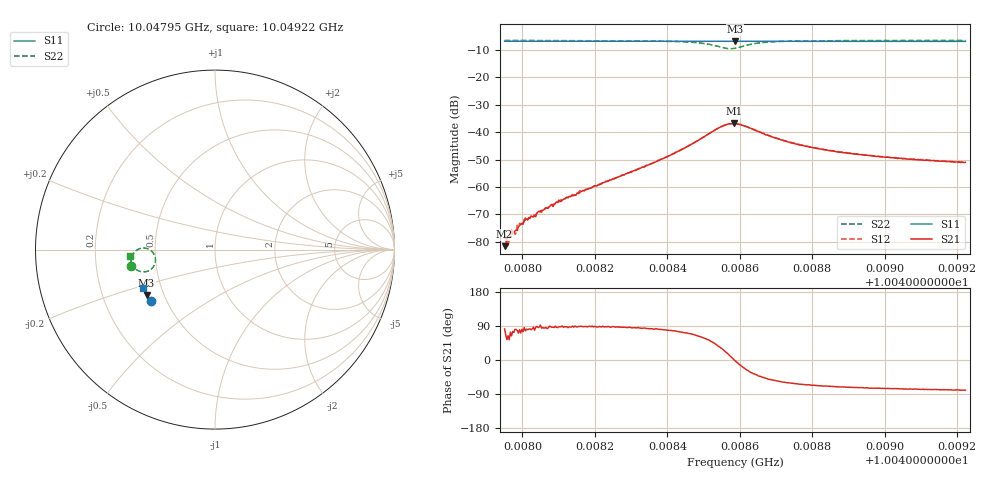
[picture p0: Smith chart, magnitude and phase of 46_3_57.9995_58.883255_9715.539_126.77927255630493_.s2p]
#  HZ  S  RI  R  50.00
! Rohde & Schwarz Vector Network Analyzer
! Rohde-Schwarz,ZNB20-2Port,1311601062101988,3.16
! Created: UTC 3/21/2024, 12:52:18 AM
! freq[Hz]  re:S11  im:S11  re:S21  im:S21  re:S12  im:S12  re:S22  im:S22
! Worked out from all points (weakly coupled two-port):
!   401 points, 10.04795 GHz to 10.04922 GHz, reference 50 ohm
!   highest |S21| = -36.75 dB at 10.04858 GHz (marker M1); lowest = -81.6 dB at 10.04795 GHz (marker M2)
!   lowest |S11| = -6.8 dB at 10.04859 GHz (marker M3), VSWR 2.68, Z = 20.1 - j12.8 ohm
!   |S11| at or under -10 dB: nowhere
!   |S22| runs from -9.5 to -6.5 dB; largest |S21 - S12| = 0.0011
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1.0047951e10  -0.3587 -0.2873  1.15e-05 8.22e-05  5.93e-05 0.000126  -0.4658 -0.09
1.0047957e10  -0.3589 -0.2869  7.04e-05 9.58e-05  3.96e-05 0.000102  -0.4659 -0.0895
1.004796e10  -0.3589 -0.2869  5.29e-05 0.000109  3.17e-05 7.88e-05  -0.4659 -0.0893
1.0047973e10  -0.3596 -0.2862  3.64e-05 0.000139  2.52e-05 0.000138  -0.466 -0.0882
1.0047976e10  -0.3597 -0.2859  4.43e-05 0.000144  6.99e-05 0.000147  -0.4662 -0.0879
1.0047992e10  -0.3604 -0.2851  3.51e-05 0.000195  2.53e-05 0.000216  -0.4662 -0.0864
1.0048011e10  -0.3611 -0.2841  3.97e-05 0.00026  1.22e-05 0.00025  -0.4665 -0.0846
1.0048033e10  -0.362 -0.2829  5.85e-05 0.000294  2.27e-05 0.00031  -0.4666 -0.0826
1.0048097e10  -0.3644 -0.2794  4.11e-05 0.000517  1.29e-05 0.000522  -0.467 -0.0762
1.0048164e10  -0.3671 -0.2758  1.71e-05 0.00083  -1.48e-05 0.000862  -0.4673 -0.0691
1.0048377e10  -0.375 -0.2637  0.000467 0.00301  0.000314 0.00307  -0.4611 -0.0346
1.004845e10  -0.3777 -0.2596  0.00167 0.00497  0.00136 0.00511  -0.4471 -0.0126
1.0048526e10  -0.3798 -0.255  0.00728 0.00755  0.00678 0.00793  -0.3895 0.0083
1.0048561e10  -0.3805 -0.2532  0.0127 0.00487  0.0123 0.00571  -0.3412 -0.0231
1.0048584e10  -0.3811 -0.2523  0.0145 0.000321  0.0143 0.00122  -0.3323 -0.0678
1.0048587e10  -0.381 -0.2522  0.0144 -0.000472  0.0143 0.000557  -0.3335 -0.0743
1.0048622e10  -0.3825 -0.251  0.0111 -0.00572  0.0115 -0.00483  -0.3731 -0.1196
1.0048666e10  -0.3845 -0.2486  0.00654 -0.00683  0.00696 -0.00645  -0.4196 -0.121
1.0048724e10  -0.3868 -0.2453  0.00361 -0.00592  0.004 -0.00578  -0.4465 -0.1046
1.00488e10  -0.3896 -0.2409  0.0021 -0.00481  0.00241 -0.00469  -0.4599 -0.0866
1.0049013e10  -0.3967 -0.2285  0.000873 -0.00337  0.00107 -0.00329  -0.4705 -0.0561
1.0049223e10  -0.403 -0.2161  0.000512 -0.00278  0.000684 -0.00278  -0.4733 -0.0363
